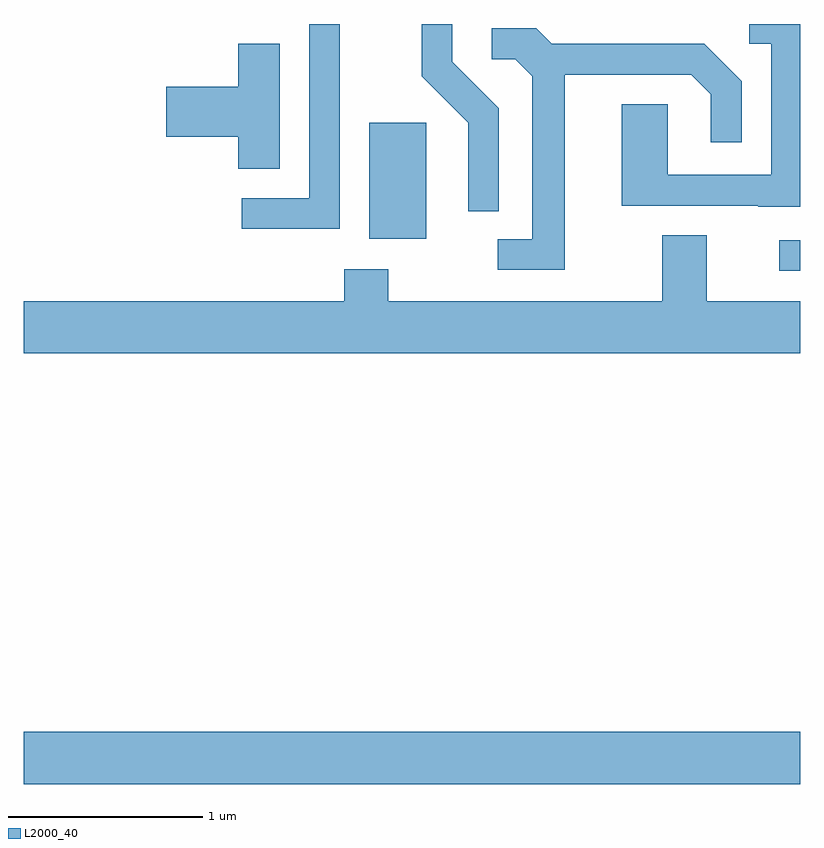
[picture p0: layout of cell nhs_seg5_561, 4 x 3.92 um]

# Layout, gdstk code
import gdstk
lib = gdstk.Library(unit=1e-6, precision=1e-09)
def R(c, l, rs):  # rectangles x0, y0, x1, y1
    for r in rs: c.add(gdstk.rectangle(r[:2], r[2:], *l))
def P(c, l, *ps):  # polygons
    for p in ps: c.add(gdstk.Polygon(p, *l))
L2000_40 = (2000, 40)

nhs_seg5_561 = lib.new_cell('nhs_seg5_561')
R(nhs_seg5_561, L2000_40, [(201.611,1430.156,205.611,1430.424), (205.503,1432.801,205.611,1432.959), (203.391,1432.966,203.684,1433.564)])
P(nhs_seg5_561, L2000_40, [(205.611,1434.072),(205.348,1434.072),(205.348,1433.971),(205.461,1433.971),(205.461,1433.294),(204.929,1433.294),(204.929,1433.659),(204.691,1433.659),(204.691,1433.136),(205.395,1433.136),(205.395,1433.131),(205.611,1433.131)],
  [(203.239,1434.072),(203.081,1434.072),(203.081,1433.174),(202.733,1433.174),(202.733,1433.016),(203.239,1433.016)],
  [(204.059,1433.637),(203.819,1433.877),(203.819,1434.072),(203.661,1434.072),(203.661,1433.804),(203.901,1433.564),(203.901,1433.108),(204.059,1433.108)],
  [(204.399,1433.811),(205.049,1433.811),(205.151,1433.709),(205.151,1433.463),(205.309,1433.463),(205.309,1433.777),(205.117,1433.969),(204.332,1433.969),(204.252,1434.049),(204.023,1434.049),(204.023,1433.891),(204.144,1433.891),(204.231,1433.804),(204.231,1432.964),(204.053,1432.964),(204.053,1432.806),(204.399,1432.806)],
  [(202.929,1433.969),(202.716,1433.969),(202.716,1433.749),(202.346,1433.749),(202.346,1433.491),(202.716,1433.491),(202.716,1433.326),(202.929,1433.326)],
  [(205.611,1432.644),(205.129,1432.644),(205.129,1432.984),(204.901,1432.984),(204.901,1432.644),(203.489,1432.644),(203.489,1432.809),(203.261,1432.809),(203.261,1432.644),(201.611,1432.644),(201.611,1432.376),(205.611,1432.376)])

lib.write_gds('nhs_seg5_561.gds')
